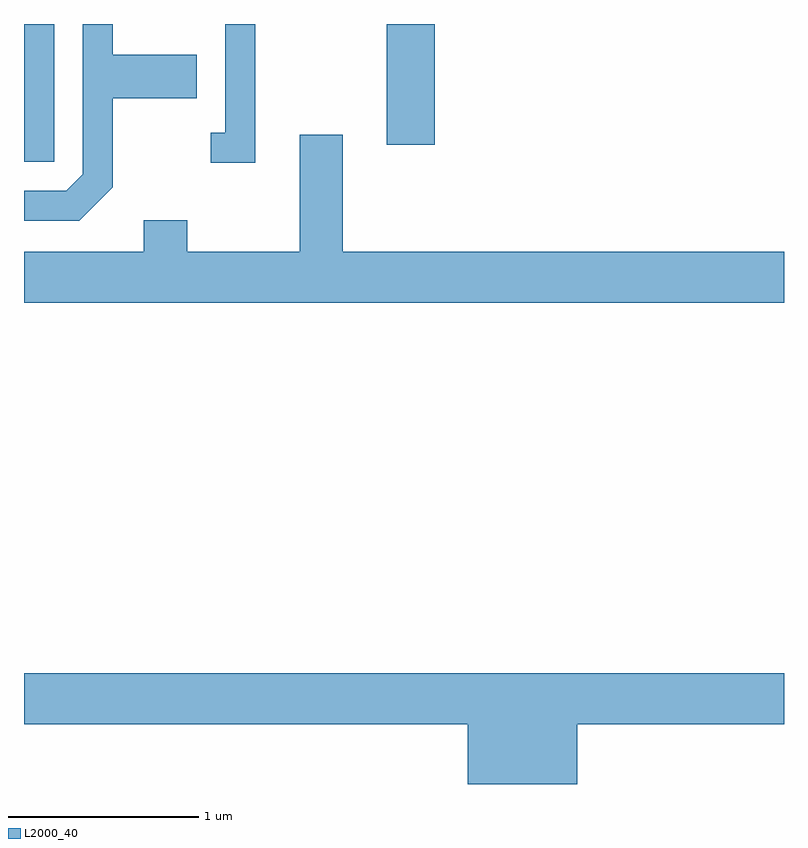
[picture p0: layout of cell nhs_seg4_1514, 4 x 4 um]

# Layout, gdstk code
import gdstk
lib = gdstk.Library(unit=1e-6, precision=1e-09)
def R(c, l, rs):  # rectangles x0, y0, x1, y1
    for r in rs: c.add(gdstk.rectangle(r[:2], r[2:], *l))
def P(c, l, *ps):  # polygons
    for p in ps: c.add(gdstk.Polygon(p, *l))
L2000_40 = (2000, 40)

nhs_seg4_1514 = lib.new_cell('nhs_seg4_1514')
R(nhs_seg4_1514, L2000_40, [(229.611,1293.256,229.769,1293.982), (231.521,1293.346,231.774,1293.982)])
P(nhs_seg4_1514, L2000_40, [(230.829,1293.982),(230.671,1293.982),(230.671,1293.409),(230.593,1293.409),(230.593,1293.251),(230.829,1293.251)],
  [(230.079,1293.124),(230.079,1293.591),(230.519,1293.591),(230.519,1293.819),(230.079,1293.819),(230.079,1293.982),(229.921,1293.982),(229.921,1293.192),(229.834,1293.104),(229.611,1293.104),(229.611,1292.946),(229.902,1292.946)],
  [(233.611,1292.784),(231.289,1292.784),(231.289,1293.399),(231.061,1293.399),(231.061,1292.784),(230.469,1292.784),(230.469,1292.949),(230.241,1292.949),(230.241,1292.784),(229.611,1292.784),(229.611,1292.516),(233.611,1292.516)],
  [(232.524,1290.296),(233.611,1290.296),(233.611,1290.564),(229.611,1290.564),(229.611,1290.296),(231.946,1290.296),(231.946,1289.982),(232.524,1289.982)])

lib.write_gds('nhs_seg4_1514.gds')
